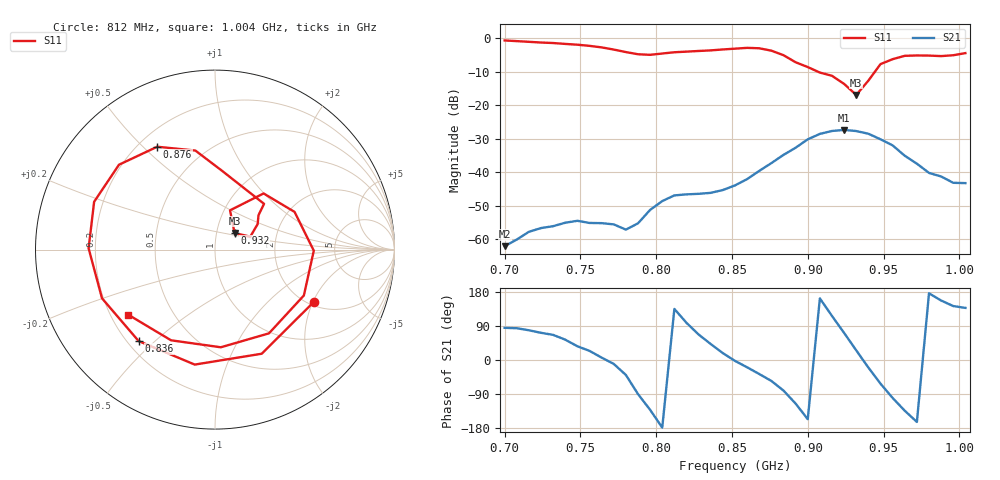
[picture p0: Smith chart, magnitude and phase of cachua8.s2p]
# Hz S RI R 50
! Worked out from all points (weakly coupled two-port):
!   39 points, 700 MHz to 1.004 GHz, reference 50 ohm
!   highest |S21| = -27.36 dB at 924 MHz (marker M1); lowest = -62.1 dB at 700 MHz (marker M2)
!   lowest |S11| = -16.9 dB at 932 MHz (marker M3), VSWR 1.33, Z = 61 + j11.5 ohm
!   |S11| at or under -10 dB: 907.1 MHz to 944.2 MHz (37.16 MHz wide, 4.01 % of centre)
!   S12 and S22 are empty: the file has one direction only
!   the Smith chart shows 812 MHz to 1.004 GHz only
!   S11 on the Smith chart (normalised r, x): 812 MHz: 2.12, -2.03; 836 MHz: 0.24, -0.44; 876 MHz: 0.27, +0.55; 932 MHz: 1.22, +0.23; 1.004 GHz: 0.27, -0.31
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7e8  0.7649 0.5367  7e-05 0.000781  0 0  0 0
7.24e8  0.8302 -0.2609  0.000458 0.00139  0 0  0 0
7.4e8  0.4457 -0.6994  0.00104 0.00141  0 0  0 0
7.56e8  -0.1969 -0.7505  0.00159 0.000712  0 0  0 0
7.72e8  -0.6549 -0.1938  0.00163 -0.000297  0 0  0 0
7.8e8  -0.5842 0.2265  0.00107 -0.00088  0 0  0 0
7.88e8  -0.2339 0.5318  2.01e-06 -0.00172  0 0  0 0
7.96e8  0.2519 0.5111  -0.00181 -0.00205  0 0  0 0
8.04e8  0.574 0.1596  -0.0037 -9.94e-05  0 0  0 0
8.12e8  0.5493 -0.2928  -0.00317 0.0032  0 0  0 0
8.2e8  0.2603 -0.5802  -0.000655 0.00462  0 0  0 0
8.36e8  -0.4255 -0.5095  0.00365 0.0033  0 0  0 0
8.52e8  -0.7042 0.00715  0.00634 -0.000267  0 0  0 0
8.76e8  -0.3218 0.5731  0.00779 -0.0113  0 0  0 0
9e8  0.2733 0.255  -0.0284 -0.0125  0 0  0 0
9.08e8  0.2424 0.1919  -0.0357 0.0112  0 0  0 0
9.24e8  0.1964 0.0719  0.0137 0.0406  0 0  0 0
9.32e8  0.1089 0.0925  0.0373 0.0177  0 0  0 0
9.56e8  0.4433 0.21  -0.00445 -0.0248  0 0  0 0
9.64e8  0.5504 -0.00599  -0.0122 -0.0127  0 0  0 0
9.8e8  0.3007 -0.4666  -0.00974 0.000685  0 0  0 0
1.004e9  -0.4829 -0.3631  -0.00507 0.00464  0 0  0 0
